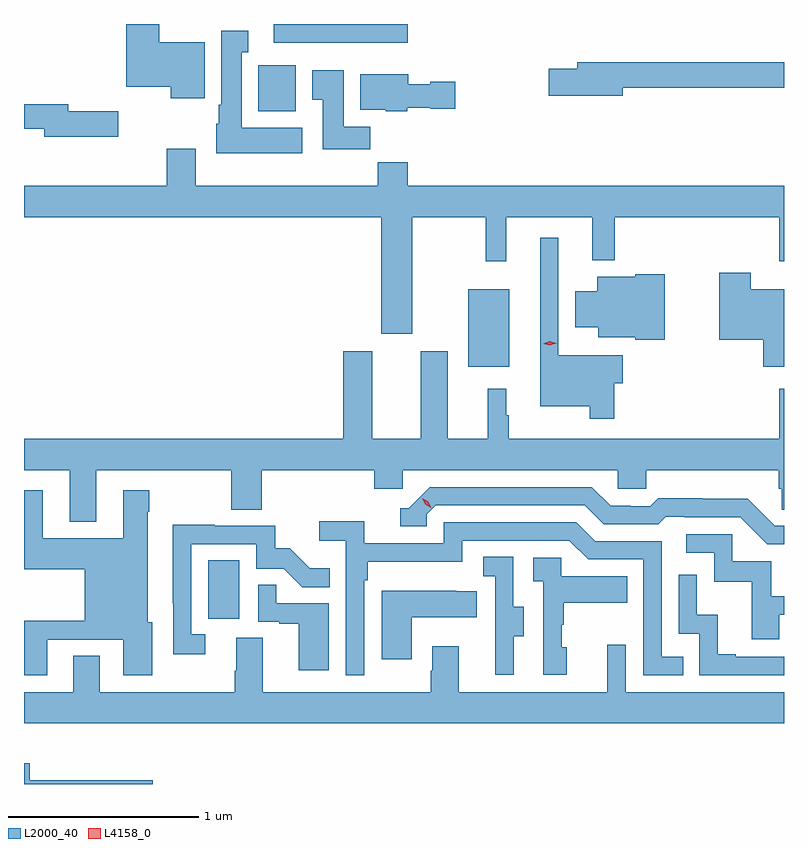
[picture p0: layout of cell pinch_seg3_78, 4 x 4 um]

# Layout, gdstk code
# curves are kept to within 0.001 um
import gdstk
lib = gdstk.Library(unit=1e-6, precision=1e-09)
def R(c, l, rs):  # rectangles x0, y0, x1, y1
    for r in rs: c.add(gdstk.rectangle(r[:2], r[2:], *l))
def P(c, l, *ps):  # polygons
    for p in ps: c.add(gdstk.Polygon(p, *l))
L2000_40 = (2000, 40)
L4158_0 = (4158, 0)

pinch_seg3_78 = lib.new_cell('pinch_seg3_78')
R(pinch_seg3_78, L2000_40, [(1047.326,732.102,1047.49,732.409), (1048.694,733.427,1048.909,733.837), (1047.59,734.774,1047.787,735.016)])
P(pinch_seg3_78, L2000_40, [(1047.307,735.136),(1047.067,735.136),(1047.067,735.232),(1046.894,735.232),(1046.894,734.903),(1047.128,734.903),(1047.128,734.84),(1047.307,734.84)],
  [(1048.376,735.232),(1048.127,735.232),(1048.127,735.231),(1047.907,735.231),(1047.907,735.232),(1047.671,735.232),(1047.671,735.134),(1048.376,735.134)],
  [(1047.82,734.686),(1047.502,734.686),(1047.502,735.083),(1047.535,735.083),(1047.535,735.196),(1047.395,735.196),(1047.395,734.806),(1047.38,734.806),(1047.38,734.706),(1047.368,734.706),(1047.368,734.552),(1047.82,734.552)],
  [(1049.506,734.896),(1050.356,734.896),(1050.356,735.032),(1049.267,735.032),(1049.267,734.996),(1049.118,734.996),(1049.118,734.854),(1049.506,734.854)],
  [(1048.178,734.692),(1048.039,734.692),(1048.039,734.989),(1047.872,734.989),(1047.872,734.833),(1047.929,734.833),(1047.929,734.574),(1048.178,734.574)],
  [(1048.374,734.792),(1048.494,734.792),(1048.494,734.785),(1048.627,734.785),(1048.627,734.927),(1048.494,734.927),(1048.494,734.914),(1048.378,734.914),(1048.378,734.968),(1048.127,734.968),(1048.127,734.78),(1048.26,734.78),(1048.26,734.774),(1048.374,734.774)],
  [(1046.851,734.774),(1046.59,734.774),(1046.59,734.81),(1046.356,734.81),(1046.356,734.682),(1046.462,734.682),(1046.462,734.639),(1046.851,734.639)],
  [(1048.399,734.216),(1048.785,734.216),(1048.785,733.983),(1048.895,733.983),(1048.895,734.216),(1049.348,734.216),(1049.348,733.988),(1049.465,733.988),(1049.465,734.216),(1050.331,734.216),(1050.331,733.983),(1050.356,733.983),(1050.356,734.38),(1048.376,734.38),(1048.376,734.504),(1048.219,734.504),(1048.219,734.38),(1047.259,734.38),(1047.259,734.575),(1047.107,734.575),(1047.107,734.38),(1046.356,734.38),(1046.356,734.216),(1048.235,734.216),(1048.235,733.602),(1048.399,733.602)],
  [(1049.462,733.342),(1049.506,733.342),(1049.506,733.489),(1049.169,733.489),(1049.169,734.107),(1049.072,734.107),(1049.072,733.22),(1049.334,733.22),(1049.334,733.155),(1049.462,733.155)],
  [(1050.356,733.837),(1050.18,733.837),(1050.18,733.924),(1050.014,733.924),(1050.014,733.571),(1050.248,733.571),(1050.248,733.427),(1050.356,733.427)],
  [(1049.728,733.915),(1049.574,733.915),(1049.574,733.903),(1049.372,733.903),(1049.372,733.825),(1049.258,733.825),(1049.258,733.637),(1049.378,733.637),(1049.378,733.583),(1049.574,733.583),(1049.574,733.571),(1049.728,733.571)],
  [(1046.356,732.884),(1046.597,732.884),(1046.597,732.611),(1046.737,732.611),(1046.737,732.884),(1047.448,732.884),(1047.448,732.676),(1047.608,732.676),(1047.608,732.884),(1048.199,732.884),(1048.199,732.786),(1048.35,732.786),(1048.35,732.884),(1049.481,732.884),(1049.481,732.786),(1049.631,732.786),(1049.631,732.884),(1050.329,732.884),(1050.329,732.786),(1050.343,732.786),(1050.343,732.676),(1050.356,732.676),(1050.356,733.312),(1050.331,733.312),(1050.331,733.048),(1048.906,733.048),(1048.906,733.172),(1048.894,733.172),(1048.894,733.312),(1048.796,733.312),(1048.796,733.048),(1048.585,733.048),(1048.585,733.51),(1048.445,733.51),(1048.445,733.048),(1048.189,733.048),(1048.189,733.51),(1048.037,733.51),(1048.037,733.048),(1046.356,733.048)],
  [(1050.356,732.591),(1050.306,732.591),(1050.164,732.733),(1049.928,732.733),(1049.928,732.736),(1049.695,732.736),(1049.653,732.693),(1049.55,732.693),(1049.55,732.696),(1049.443,732.696),(1049.344,732.795),(1048.491,732.795),(1048.38,732.684),(1048.337,732.684),(1048.337,732.588),(1048.476,732.588),(1048.476,732.651),(1048.524,732.699),(1049.307,732.699),(1049.406,732.6),(1049.695,732.6),(1049.734,732.639),(1049.833,732.639),(1049.833,732.636),(1050.126,732.636),(1050.267,732.495),(1050.356,732.495)],
  [(1046.479,731.991),(1046.879,731.991),(1046.879,731.805),(1047.031,731.805),(1047.031,732.084),(1047.007,732.084),(1047.007,732.665),(1047.015,732.665),(1047.015,732.778),(1046.879,732.778),(1046.879,732.526),(1046.455,732.526),(1046.455,732.778),(1046.356,732.778),(1046.356,732.362),(1046.675,732.362),(1046.675,732.092),(1046.356,732.092),(1046.356,731.805),(1046.479,731.805)],
  [(1048.146,732.305),(1048.166,732.305),(1048.166,732.401),(1048.662,732.401),(1048.662,732.513),(1049.226,732.513),(1049.325,732.414),(1049.616,732.414),(1049.616,731.805),(1049.825,731.805),(1049.825,731.901),(1049.712,731.901),(1049.712,732.51),(1049.362,732.51),(1049.263,732.609),(1048.566,732.609),(1048.566,732.498),(1048.148,732.498),(1048.148,732.614),(1047.909,732.614),(1047.909,732.512),(1048.05,732.512),(1048.05,731.805),(1048.146,731.805)],
  [(1047.31,732.021),(1047.237,732.021),(1047.237,732.495),(1047.579,732.495),(1047.579,732.366),(1047.723,732.366),(1047.821,732.268),(1047.965,732.268),(1047.965,732.367),(1047.861,732.367),(1047.754,732.474),(1047.678,732.474),(1047.678,732.591),(1047.359,732.591),(1047.359,732.596),(1047.14,732.596),(1047.141,731.916),(1047.31,731.916)],
  [(1050.331,732.123),(1050.356,732.123),(1050.356,732.219),(1050.289,732.219),(1050.289,732.405),(1050.084,732.405),(1050.084,732.546),(1049.841,732.546),(1049.841,732.45),(1049.988,732.45),(1049.988,732.297),(1050.187,732.297),(1050.187,731.994),(1050.331,731.994)],
  [(1048.933,732.01),(1048.987,732.01),(1048.987,732.165),(1048.932,732.165),(1048.932,732.428),(1048.773,732.428),(1048.773,732.325),(1048.836,732.325),(1048.836,732.021),(1048.835,732.021),(1048.835,731.808),(1048.933,731.808)],
  [(1049.212,731.952),(1049.187,731.952),(1049.187,732.071),(1049.197,732.071),(1049.197,732.185),(1049.531,732.185),(1049.531,732.325),(1049.184,732.325),(1049.184,732.423),(1049.037,732.423),(1049.037,732.299),(1049.088,732.299),(1049.088,731.808),(1049.212,731.808)],
  [(1050.356,731.901),(1050.103,731.901),(1050.103,731.914),(1050.008,731.914),(1050.008,732.122),(1049.898,732.122),(1049.898,732.334),(1049.802,732.334),(1049.802,732.024),(1049.91,732.024),(1049.91,731.805),(1050.356,731.805)],
  [(1047.961,732.183),(1047.683,732.183),(1047.683,732.281),(1047.588,732.281),(1047.588,732.087),(1047.699,732.087),(1047.699,732.075),(1047.803,732.075),(1047.803,731.832),(1047.961,731.832)],
  [(1048.396,732.11),(1048.739,732.11),(1048.739,732.247),(1048.631,732.247),(1048.631,732.25),(1048.238,732.25),(1048.238,731.889),(1048.396,731.889)],
  [(1047.473,732.002),(1047.473,731.828),(1047.466,731.828),(1047.466,731.716),(1046.755,731.716),(1046.755,731.906),(1046.615,731.906),(1046.615,731.716),(1046.356,731.716),(1046.356,731.552),(1050.356,731.552),(1050.356,731.716),(1049.523,731.716),(1049.523,731.965),(1049.426,731.965),(1049.426,731.716),(1048.645,731.716),(1048.645,731.956),(1048.505,731.956),(1048.505,731.828),(1048.498,731.828),(1048.498,731.716),(1047.613,731.716),(1047.613,732.002)],
  [(1047.034,731.251),(1046.386,731.251),(1046.386,731.341),(1046.356,731.341),(1046.356,731.232),(1047.034,731.232)])
P(pinch_seg3_78, L4158_0, [(1049.124,733.541),(1049.088,733.548),(1049.088,733.548),(1049.088,733.549),(1049.123,733.561),(1049.158,733.553),(1049.159,733.553),(1049.158,733.553)],
  [(1048.5,732.685),(1048.469,732.704),(1048.452,732.736),(1048.452,732.737),(1048.453,732.737),(1048.484,732.718),(1048.5,732.685),(1048.5,732.685)])

lib.write_gds('pinch_seg3_78.gds')
